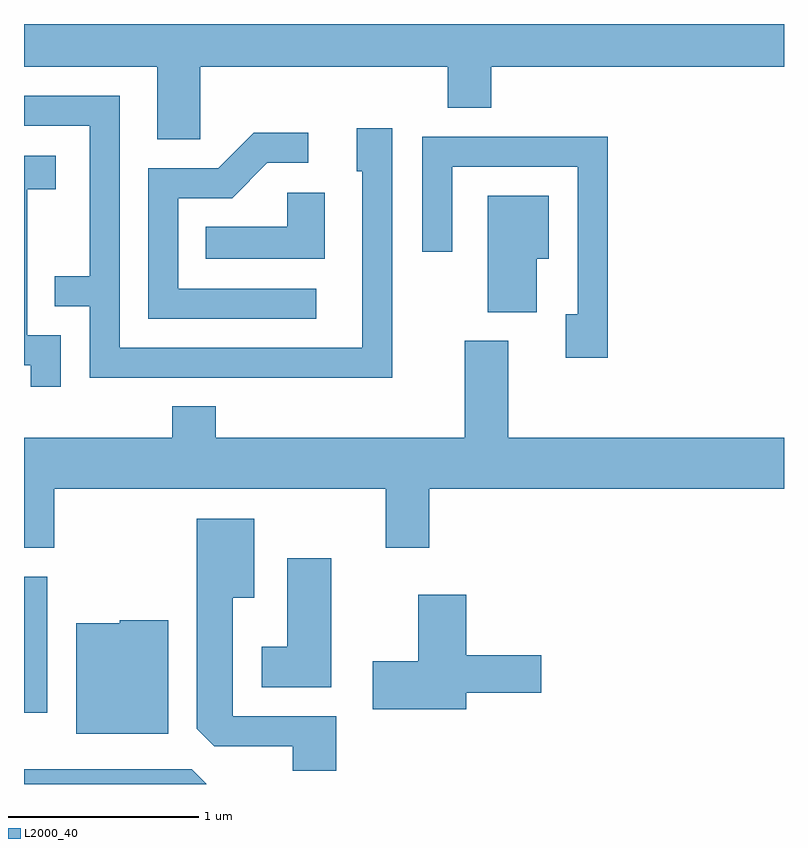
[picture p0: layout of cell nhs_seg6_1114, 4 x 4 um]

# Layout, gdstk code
import gdstk
lib = gdstk.Library(unit=1e-6, precision=1e-09)
def R(c, l, rs):  # rectangles x0, y0, x1, y1
    for r in rs: c.add(gdstk.rectangle(r[:2], r[2:], *l))
def P(c, l, *ps):  # polygons
    for p in ps: c.add(gdstk.Polygon(p, *l))
L2000_40 = (2000, 40)

nhs_seg6_1114 = lib.new_cell('nhs_seg6_1114')
R(nhs_seg6_1114, L2000_40, [(217.611,1646.536,217.734,1647.254)])
P(nhs_seg6_1114, L2000_40, [(218.539,1649.936),(219.841,1649.936),(219.841,1649.721),(220.069,1649.721),(220.069,1649.936),(221.611,1649.936),(221.611,1650.162),(217.611,1650.162),(217.611,1649.936),(218.311,1649.936),(218.311,1649.556),(218.539,1649.556)],
  [(219.549,1649.614),(219.361,1649.614),(219.361,1649.386),(219.391,1649.386),(219.391,1648.459),(218.114,1648.459),(218.114,1649.784),(217.611,1649.784),(217.611,1649.626),(217.956,1649.626),(217.956,1648.834),(217.773,1648.834),(217.773,1648.676),(217.956,1648.676),(217.956,1648.301),(219.549,1648.301)],
  [(219.148,1648.769),(218.424,1648.769),(218.424,1649.246),(218.707,1649.246),(218.892,1649.431),(219.108,1649.431),(219.108,1649.589),(218.819,1649.589),(218.634,1649.404),(218.266,1649.404),(218.266,1648.611),(219.148,1648.611)],
  [(220.684,1649.569),(219.706,1649.569),(219.706,1648.963),(219.864,1648.963),(219.864,1649.411),(220.526,1649.411),(220.526,1648.634),(220.461,1648.634),(220.461,1648.406),(220.684,1648.406)],
  [(217.804,1648.524),(217.629,1648.524),(217.629,1649.291),(217.779,1649.291),(217.779,1649.469),(217.611,1649.469),(217.611,1648.366),(217.646,1648.366),(217.646,1648.253),(217.804,1648.253)],
  [(219.194,1649.274),(218.996,1649.274),(218.996,1649.094),(218.568,1649.094),(218.568,1648.926),(219.194,1648.926)],
  [(220.309,1648.926),(220.374,1648.926),(220.374,1649.259),(220.051,1649.259),(220.051,1648.646),(220.309,1648.646)],
  [(217.769,1647.716),(219.516,1647.716),(219.516,1647.406),(219.744,1647.406),(219.744,1647.716),(221.611,1647.716),(221.611,1647.984),(220.159,1647.984),(220.159,1648.494),(219.931,1648.494),(219.931,1647.984),(218.619,1647.984),(218.619,1648.149),(218.391,1648.149),(218.391,1647.984),(217.611,1647.984),(217.611,1647.406),(217.769,1647.406)],
  [(219.254,1646.519),(218.709,1646.519),(218.709,1647.141),(218.824,1647.141),(218.824,1647.559),(218.521,1647.559),(218.521,1646.452),(218.612,1646.361),(219.026,1646.361),(219.026,1646.231),(219.254,1646.231)],
  [(219.229,1647.349),(218.996,1647.349),(218.996,1646.884),(218.861,1646.884),(218.861,1646.671),(219.229,1646.671)],
  [(219.939,1646.641),(220.334,1646.641),(220.334,1646.839),(219.939,1646.839),(219.939,1647.159),(219.686,1647.159),(219.686,1646.809),(219.446,1646.809),(219.446,1646.556),(219.939,1646.556)],
  [(218.369,1647.024),(218.115,1647.024),(218.115,1647.009),(217.886,1647.009),(217.886,1646.426),(218.369,1646.426)],
  [(218.569,1646.164),(218.494,1646.239),(217.611,1646.239),(217.611,1646.162),(218.569,1646.162)])

lib.write_gds('nhs_seg6_1114.gds')
